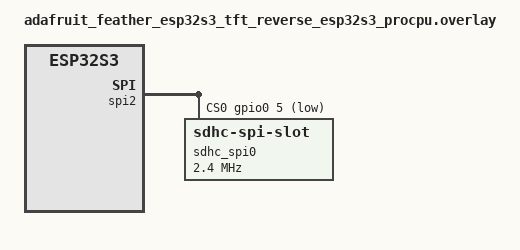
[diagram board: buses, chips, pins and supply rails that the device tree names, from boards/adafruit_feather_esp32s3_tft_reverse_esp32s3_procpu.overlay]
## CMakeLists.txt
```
# SPDX-License-Identifier: Apache-2.0

cmake_minimum_required(VERSION 3.20.0)

find_package(Zephyr REQUIRED HINTS $ENV{ZEPHYR_BASE})
project(06-SD_CARD_TEST)

target_sources(app PRIVATE src/main.c)
```

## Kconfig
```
# Copyright (c) 2019 Peter Bigot Consulting, LLC
# SPDX-License-Identifier: Apache-2.0

mainmenu "littlefs sample"

config APP_WIPE_STORAGE
	bool "Option to clear the flash area before mounting"
	help
	  Use this to force an existing file system to be created.

choice
	prompt "Storage backend type used by the application"
	default APP_LITTLEFS_STORAGE_FLASH
	help
	  Specify the type of storage backend.

config APP_LITTLEFS_STORAGE_FLASH
	bool "Use flash memory backend"

config APP_LITTLEFS_STORAGE_BLK_SPI
	bool "Use block device (e.g. SD MMC) backend"
endchoice

source "Kconfig.zephyr"
```

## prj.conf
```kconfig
CONFIG_DISK_DRIVERS=y
CONFIG_MMC_STACK=y
CONFIG_SDHC=y
CONFIG_FILE_SYSTEM=y
CONFIG_FILE_SYSTEM_LITTLEFS=y
CONFIG_SPI=y
CONFIG_FS_LITTLEFS_BLK_DEV=y
CONFIG_DISK_ACCESS=y
```

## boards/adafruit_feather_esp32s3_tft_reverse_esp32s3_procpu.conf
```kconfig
CONFIG_POWER_DOMAIN=y
CONFIG_PM_DEVICE=y
CONFIG_PM_DEVICE_POWER_DOMAIN=y
```

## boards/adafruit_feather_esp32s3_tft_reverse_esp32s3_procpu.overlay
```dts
&spi2 {
    status = "okay";
    cs-gpios = <&gpio0 5 GPIO_ACTIVE_LOW>;

    sdhc_spi0: sdhc@0 {  // <-- change label here
        compatible = "zephyr,sdhc-spi-slot";
        reg = <0>;
        status = "okay";
        mmc {
            compatible = "zephyr,sdmmc-disk";
            disk-name = "SD";
            status = "okay";
        };
        spi-max-frequency = <2400000>;
    };
};
```

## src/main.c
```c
#include <zephyr/kernel.h>
#include <zephyr/device.h>
#include <zephyr/storage/disk_access.h>
#include <zephyr/fs/fs.h>
#include <zephyr/fs/littlefs.h>
#include <zephyr/logging/log.h>
#include <zephyr/sys/printk.h>

LOG_MODULE_REGISTER(main);

#define DISK_DRIVE_NAME "SD"
#define DISK_MOUNT_PT "/sd"

FS_LITTLEFS_DECLARE_DEFAULT_CONFIG(storage);
static struct fs_mount_t lfs_storage_mnt = {
    .type = FS_LITTLEFS,
    .fs_data = &storage,
    .storage_dev = (void *)DISK_DRIVE_NAME,
    .mnt_point = DISK_MOUNT_PT,
};

int main(void)
{
    struct fs_file_t file;
    int ret;
    const char *disk_pdrv = DISK_DRIVE_NAME;
    uint64_t memory_size_mb;
    uint32_t block_count;
    uint32_t block_size;

    // Initialize disk
    ret = disk_access_init(disk_pdrv);
    if (ret != 0) {
        LOG_ERR("Storage init ERROR!");
        return -1;
    }

    // Get disk info
    ret = disk_access_ioctl(disk_pdrv, DISK_IOCTL_GET_SECTOR_COUNT, &block_count);
    if (ret != 0) {
        LOG_ERR("Unable to get sector count");
        return -1;
    }
    
    ret = disk_access_ioctl(disk_pdrv, DISK_IOCTL_GET_SECTOR_SIZE, &block_size);
    if (ret != 0) {
        LOG_ERR("Unable to get sector size");
        return -1;
    }

    memory_size_mb = (uint64_t)block_count * block_size;
    LOG_INF("Block count %u, block size %u, memory size %llu MB",
            block_count, block_size, memory_size_mb >> 20);

    // Mount filesystem
    ret = fs_mount(&lfs_storage_mnt);
    if (ret < 0) {
        LOG_ERR("Error mounting littlefs [%d]", ret);
        return -1;
    }
    LOG_INF("littleFS mounted successfully!");

    // Write data to file
    fs_file_t_init(&file);
    ret = fs_open(&file, DISK_MOUNT_PT "/test.txt", FS_O_CREATE | FS_O_WRITE);
    if (ret < 0) {
        LOG_ERR("Failed to open file [%d]", ret);
        return -1;
    }

    const char *data = "Hello, SD card with littleFS!\n";
    ret = fs_write(&file, data, strlen(data));
    if (ret < 0) {
        LOG_ERR("Failed to write file [%d]", ret);
        fs_close(&file);
        return -1;
    }

    fs_close(&file);
    LOG_INF("Data written successfully!");

    // Read back the data
    ret = fs_open(&file, DISK_MOUNT_PT "/test.txt", FS_O_READ);
    if (ret < 0) {
        LOG_ERR("Failed to open file for reading [%d]", ret);
        return -1;
    }

    char read_buffer[100];
    ret = fs_read(&file, read_buffer, sizeof(read_buffer) - 1);
    if (ret < 0) {
        LOG_ERR("Failed to read file [%d]", ret);
    } else {
        read_buffer[ret] = '\0';
        LOG_INF("Read from file: %s", read_buffer);
    }

    fs_close(&file);

    return 0;
}
```
